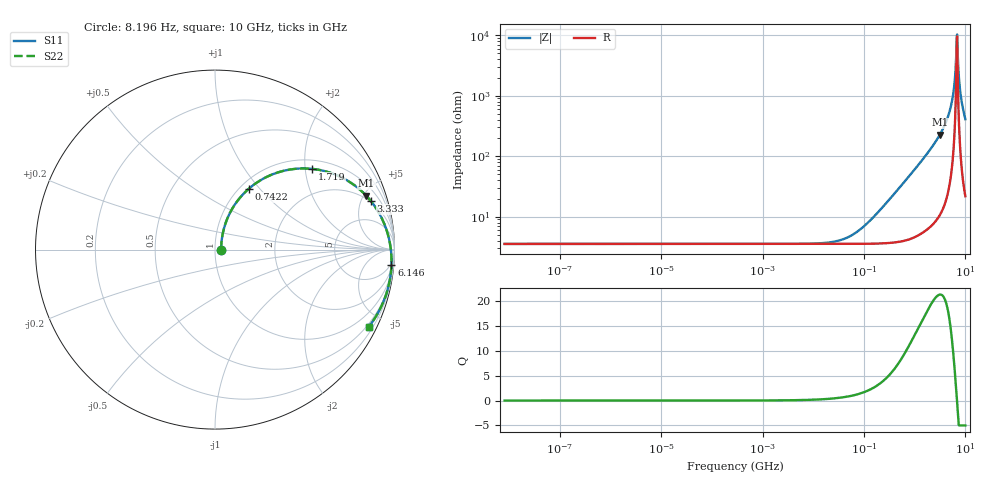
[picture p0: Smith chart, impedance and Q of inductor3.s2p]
! Created Mon Jan  5 17:16:06 2026
! List of port names and net name(s): example Port n = <port_name> <net_name1> <net_name2> ...
! Port 1 = P1 P1
! Port 2 = P2 P2
# hz S ri R 50
! 2 Port Network Data from data block
! freq  reS11  imS11  reS21  imS21  reS12  imS12  reS22  imS22
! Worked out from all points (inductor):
!   253 points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, 8.196 Hz to 10 GHz, reference 50 ohm
!   read as one part in series: L = 9.48 nH near 182.3 MHz
!   highest Q = 21.3 at 3.125 GHz (marker M1), where L = 11.5 nH
!   self-resonance near 6.771 GHz
!   S11 on the Smith chart (normalised r, x): 8.196 Hz: 1.07, +0.00; 742.2 MHz: 1.10, +0.88; 1.719 GHz: 1.22, +2.18; 3.333 GHz: 1.90, +5.96; 6.146 GHz: 4, -23; 10 GHz: 0.39, -4.19
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8.196129  0.0343 4.43e-09  0.9657 -4.69e-09  0.9657 -4.69e-09  0.0343 4.43e-09
819.6129  0.0343 4.43e-07  0.9657 -4.69e-07  0.9657 -4.69e-07  0.0343 4.43e-07
10318.32  0.0343 5.58e-06  0.9657 -5.9e-06  0.9657 -5.9e-06  0.0343 5.58e-06
326293.8  0.0343 0.000176  0.9657 -0.000187  0.9657 -0.000187  0.0343 0.000176
1.034282e7  0.0343 0.00559  0.9657 -0.00592  0.9657 -0.00592  0.0343 0.00559
5.859375e7  0.0354 0.0316  0.9645 -0.0335  0.9645 -0.0335  0.0354 0.0316
1.171875e8  0.0387 0.0631  0.961 -0.0667  0.961 -0.0667  0.0387 0.0631
3.059896e8  0.0637 0.1606  0.9346 -0.1691  0.9346 -0.1691  0.0638 0.1606
7.421875e8  0.1881 0.3389  0.8091 -0.3561  0.8091 -0.3561  0.1882 0.3389
1.71875e9  0.5419 0.4499  0.4549 -0.4893  0.4549 -0.4893  0.5421 0.4496
3.125e9  0.8428 0.3002  0.1524 -0.3716  0.1524 -0.3716  0.843 0.2995
3.333333e9  0.8681 0.2713  0.1268 -0.3475  0.1268 -0.3475  0.8683 0.2705
5e9  0.972 0.0493  0.019 -0.1638  0.019 -0.1638  0.972 0.0481
5.625e9  0.9822 -0.0252  0.00702 -0.1037  0.00702 -0.1037  0.9822 -0.0266
6.145833e9  0.9833 -0.0837  0.00433 -0.0574  0.00433 -0.0574  0.9831 -0.0851
6.458333e9  0.9812 -0.1172  0.00534 -0.0312  0.00534 -0.0312  0.981 -0.1187
6.770833e9  0.9773 -0.1497  0.00808 -0.00617  0.00808 -0.00617  0.977 -0.1512
6.875e9  0.9756 -0.1602  0.00934 0.00196  0.00934 0.00196  0.9753 -0.1618
7.1875e9  0.9695 -0.1913  0.0141 0.0256  0.0141 0.0256  0.9692 -0.1929
7.708333e9  0.9562 -0.241  0.0252 0.0628  0.0252 0.0628  0.9557 -0.2427
8.541667e9  0.9273 -0.3151  0.0499 0.1168  0.0499 0.1168  0.9266 -0.3169
1e10  0.8571 -0.4298  0.1111 0.1955  0.1111 0.1955  0.8561 -0.4318
